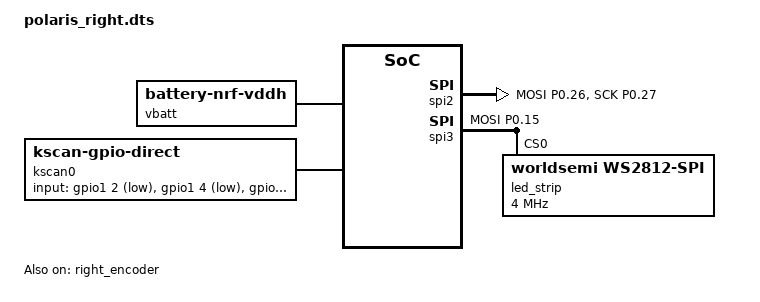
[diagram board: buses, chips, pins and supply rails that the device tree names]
#include "polaris.dtsi"
#include <dt-bindings/led/led.h>

&default_transform {
		col-offset=<25>;
};

/ {
};

&pinctrl {
    spi2_default: spi2_default {
				group1 {
						psels = <NRF_PSEL(SPIM_MOSI, 0, 26)>,
						<NRF_PSEL(SPIM_SCK, 0, 27)>;
				};
		};
	
    spi2_sleep: spi2_sleep {
				group1 {
						psels = <NRF_PSEL(SPIM_MOSI, 0, 26)>,
						<NRF_PSEL(SPIM_SCK, 0, 27)>;
						low-power-enable;
				};
		};

    spi3_default: spi3_default {
				group1 {
						psels = <NRF_PSEL(SPIM_MOSI, 0, 15)>;
				};
		};
	
    spi3_sleep: spi3_sleep {
				group1 {
						psels = <NRF_PSEL(SPIM_MOSI, 0, 15)>;
						low-power-enable;
				};
		};
    i2c1_default: i2c1_default {
        group1 {
            psels = <NRF_PSEL(TWIM_SDA, 0, 12)>,
                <NRF_PSEL(TWIM_SCL, 1, 9)>;
						bias-pull-up;
        };
    };

    i2c1_sleep: i2c1_sleep {
        group1 {
            psels = <NRF_PSEL(TWIM_SDA, 0, 12)>,
                <NRF_PSEL(TWIM_SCL, 1, 9)>;
            low-power-enable;
						bias-pull-up;
        };
    };
};



lpm_view_spi: &spi2 {
    compatible = "nordic,nrf-spim";
    pinctrl-0 = <&spi2_default>;
    pinctrl-1 = <&spi2_sleep>;
    pinctrl-names = "default", "sleep";
    cs-gpios = <&gpio0 7 (GPIO_ACTIVE_HIGH | GPIO_PULL_DOWN) >;
};

nice_view_spi: &spi2 {
    compatible = "nordic,nrf-spim";
    pinctrl-0 = <&spi2_default>;
    pinctrl-1 = <&spi2_sleep>;
    pinctrl-names = "default", "sleep";
    cs-gpios = <&gpio0 7 (GPIO_ACTIVE_HIGH | GPIO_PULL_DOWN) >;
};


&spi3 {
	compatible = "nordic,nrf-spim";
	status = "okay";
	pinctrl-0 = <&spi3_default>;
	pinctrl-1 = <&spi3_sleep>;
	pinctrl-names = "default", "sleep";

	led_strip: ws2812@0 {
				compatible ="worldsemi,ws2812-spi";
        /* SPI */
        reg = <0>; /* ignored, but necessary for SPI bindings */
        spi-max-frequency = <4000000>;

        /* WS2812 */
        chain-length = <25>; /* arbitrary; change at will */
        spi-one-frame = <0x70>;
        spi-zero-frame = <0x40>;

        color-mapping = <LED_COLOR_ID_GREEN LED_COLOR_ID_RED LED_COLOR_ID_BLUE>;
		};
};

&right_encoder {
    status = "okay";
};

&physical_layout0 {
  	kscan = <&kscan0>;
};

/ {
	chosen {
		zmk,physical-layout = &physical_layout0;
    zmk,underglow = &led_strip;
		zmk,battery =&vbatt;
	};
    vbatt: vbatt {
        compatible = "zmk,battery-nrf-vddh";
    };
    kscan0: kscan {
		compatible = "zmk,kscan-gpio-direct";
		wakeup-source;
		input-gpios
			= <&gpio1  2 (GPIO_ACTIVE_LOW | GPIO_PULL_UP)>  //19
			, <&gpio1	 4 (GPIO_ACTIVE_LOW | GPIO_PULL_UP)> //18
			, <&gpio1	 6 (GPIO_ACTIVE_LOW | GPIO_PULL_UP)>  //13
			, <&gpio1  5 (GPIO_ACTIVE_LOW | GPIO_PULL_UP)>  //12
			, <&gpio1  7 (GPIO_ACTIVE_LOW | GPIO_PULL_UP)>  //5
			, <&gpio0  9 (GPIO_ACTIVE_LOW | GPIO_PULL_UP)> //4
			, <&gpio0  10 (GPIO_ACTIVE_LOW | GPIO_PULL_UP)> //ex1
			, <&gpio1	 12 (GPIO_ACTIVE_LOW | GPIO_PULL_UP)>  //20
			, <&gpio1  11 (GPIO_ACTIVE_LOW | GPIO_PULL_UP)>  //17
			, <&gpio1  14 (GPIO_ACTIVE_LOW | GPIO_PULL_UP)>  //14
			, <&gpio1  10 (GPIO_ACTIVE_LOW | GPIO_PULL_UP)>  //11
			, <&gpio1 13 (GPIO_ACTIVE_LOW | GPIO_PULL_UP)> //6
			, <&gpio1 15 (GPIO_ACTIVE_LOW | GPIO_PULL_UP)>  //3
			, <&gpio0 2 (GPIO_ACTIVE_LOW | GPIO_PULL_UP)> //ex2
			, <&gpio0 29  (GPIO_ACTIVE_LOW | GPIO_PULL_UP)>  //21
			, <&gpio0 31 (GPIO_ACTIVE_LOW | GPIO_PULL_UP)> //16
			, <&gpio0 3 (GPIO_ACTIVE_LOW | GPIO_PULL_UP)>  //15
			, <&gpio0 28 (GPIO_ACTIVE_LOW | GPIO_PULL_UP)>  //10
			, <&gpio0 30 (GPIO_ACTIVE_LOW | GPIO_PULL_UP)>  //7
			, <&gpio0 11 (GPIO_ACTIVE_LOW | GPIO_PULL_UP)> //2
			, <&gpio0 14 (GPIO_ACTIVE_LOW | GPIO_PULL_UP)> //ex3
			, <&gpio0 13 (GPIO_ACTIVE_LOW | GPIO_PULL_UP)> // 9
			, <&gpio0 22 (GPIO_ACTIVE_LOW | GPIO_PULL_UP)> // 8
			 ,<&gpio0 21 (GPIO_ACTIVE_LOW | GPIO_PULL_UP)> //1
			 ,<&gpio0 16 (GPIO_ACTIVE_LOW | GPIO_PULL_UP)> //1
		;
    };
};
